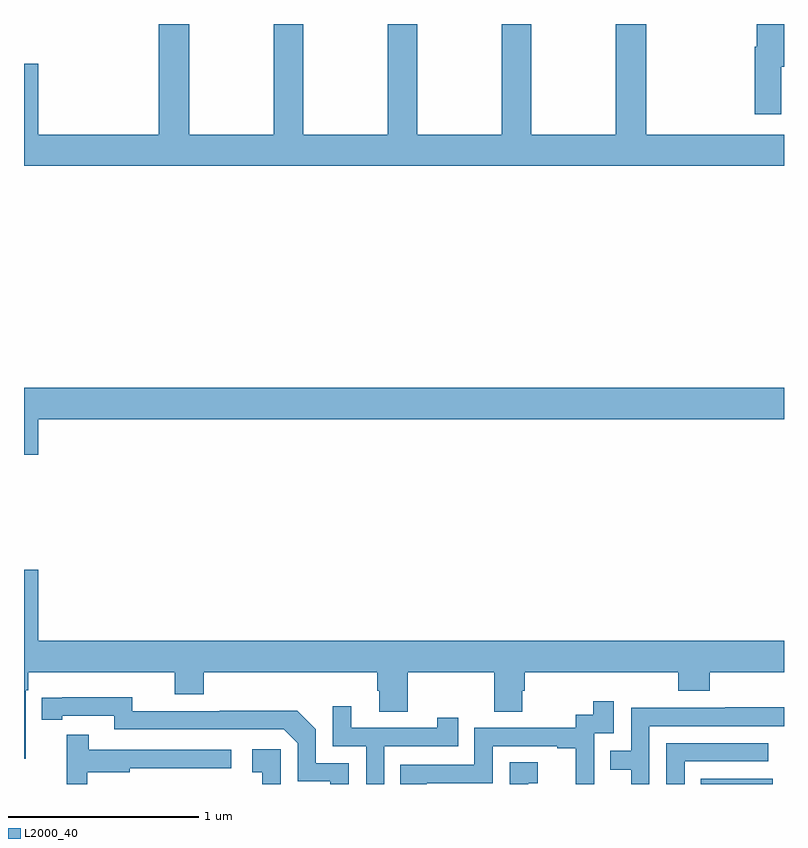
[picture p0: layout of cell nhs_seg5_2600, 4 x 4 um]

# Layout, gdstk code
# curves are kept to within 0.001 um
import gdstk
lib = gdstk.Library(unit=1e-6, precision=1e-09)
def R(c, l, rs):  # rectangles x0, y0, x1, y1
    for r in rs: c.add(gdstk.rectangle(r[:2], r[2:], *l))
def P(c, l, *ps):  # polygons
    for p in ps: c.add(gdstk.Polygon(p, *l))
L2000_40 = (2000, 40)

nhs_seg5_2600 = lib.new_cell('nhs_seg5_2600')
R(nhs_seg5_2600, L2000_40, [(264.562,894.799,264.94,894.826)])
P(nhs_seg5_2600, L2000_40, [(264.985,898.574),(265,898.574),(265,898.799),(264.857,898.799),(264.857,898.678),(264.845,898.678),(264.845,898.323),(264.985,898.323)],
  [(265,898.216),(264.275,898.216),(264.275,898.799),(264.115,898.799),(264.115,898.216),(263.67,898.216),(263.67,898.799),(263.515,898.799),(263.515,898.216),(263.07,898.216),(263.07,898.799),(262.915,898.799),(262.915,898.216),(262.47,898.216),(262.47,898.799),(262.315,898.799),(262.315,898.216),(261.87,898.216),(261.87,898.799),(261.71,898.799),(261.71,898.216),(261.076,898.216),(261.076,898.591),(261,898.591),(261,898.052),(265,898.052)],
  [(261.076,896.72),(265,896.72),(265,896.884),(261,896.884),(261,896.532),(261.076,896.532)],
  [(261.009,895.292),(261.023,895.292),(261.023,895.388),(261.794,895.388),(261.794,895.271),(261.947,895.271),(261.947,895.388),(262.859,895.388),(262.859,895.29),(262.871,895.29),(262.871,895.18),(263.019,895.18),(263.019,895.388),(263.476,895.388),(263.476,895.18),(263.623,895.18),(263.623,895.29),(263.636,895.29),(263.636,895.388),(264.443,895.388),(264.443,895.289),(264.608,895.289),(264.608,895.388),(265,895.388),(265,895.552),(261.076,895.552),(261.076,895.927),(261,895.927),(261,894.933),(261.009,894.933)],
  [(262.71,894.909),(262.536,894.909),(262.536,895.086),(262.438,895.184),(262.03,895.184),(262.03,895.182),(261.57,895.182),(261.57,895.255),(261.094,895.254),(261.094,895.138),(261.202,895.138),(261.202,895.158),(261.474,895.158),(261.474,895.086),(262.368,895.086),(262.44,895.014),(262.44,894.813),(262.613,894.813),(262.613,894.799),(262.71,894.799)],
  [(263.121,894.804),(263.466,894.804),(263.466,894.999),(263.807,894.999),(263.807,894.987),(263.903,894.987),(263.903,894.799),(264.002,894.799),(264.002,894.836),(264,894.836),(264,895.065),(264.105,895.065),(264.105,895.234),(263.997,895.234),(263.997,895.164),(263.904,895.164),(263.904,895.095),(263.37,895.095),(263.37,894.9),(262.981,894.9),(262.981,894.799),(263.121,894.799)],
  [(262.896,894.999),(263.285,894.999),(263.285,895.147),(263.174,895.147),(263.174,895.095),(262.723,895.095),(262.723,895.207),(262.626,895.207),(262.626,894.999),(262.8,894.999),(262.8,894.799),(262.896,894.799)],
  [(264.291,895.104),(265,895.104),(265,895.202),(264.691,895.202),(264.691,895.2),(264.195,895.2),(264.195,894.975),(264.085,894.975),(264.085,894.874),(264.195,894.874),(264.195,894.799),(264.291,894.799)],
  [(261.334,894.862),(261.557,894.862),(261.557,894.882),(262.09,894.882),(262.09,894.978),(261.341,894.978),(261.341,895.057),(261.224,895.057),(261.224,894.799),(261.334,894.799)],
  [(264.477,894.918),(264.916,894.918),(264.916,895.014),(264.381,895.014),(264.381,894.799),(264.477,894.799)],
  [(262.35,894.982),(262.2,894.982),(262.2,894.861),(262.253,894.861),(262.253,894.799),(262.35,894.799)],
  [(263.655,894.803),(263.704,894.803),(263.704,894.913),(263.556,894.913),(263.556,894.799),(263.655,894.799)])

lib.write_gds('nhs_seg5_2600.gds')
